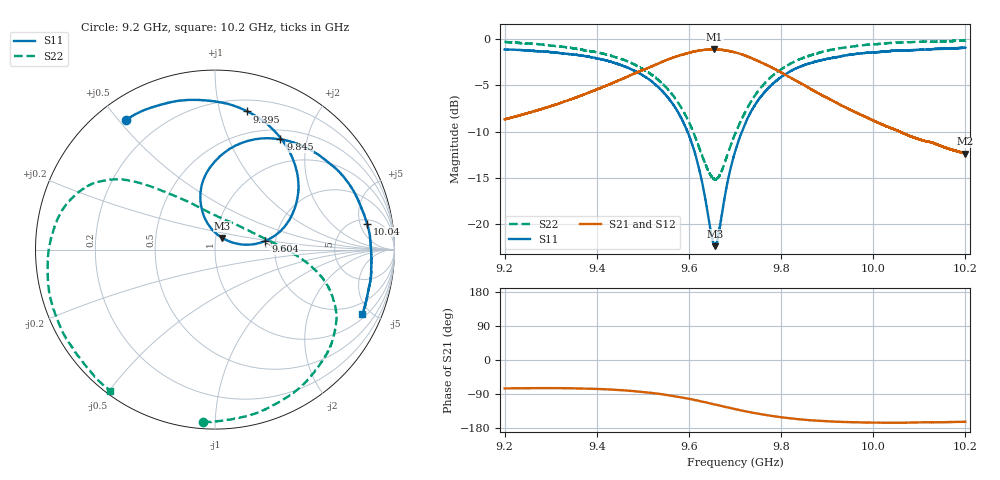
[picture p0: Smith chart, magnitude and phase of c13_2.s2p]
!Agilent Technologies,N5242A,MY51221714,A.09.90.19
!Agilent N5242A: A.09.90.19
!Date: Saturday, December 30, 2023 10:48:06
!Correction: S11(Full 2 Port(1,2))
!S21(Full 2 Port(1,2))
!S12(Full 2 Port(1,2))
!S22(Full 2 Port(1,2))
!S2P File: Measurements: S11, S21, S12, S22:
# Hz S  dB  R 50
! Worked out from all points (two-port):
!   16001 points, 9.2 GHz to 10.2 GHz, reference 50 ohm
!   highest |S21| = -1.12 dB at 9.655 GHz (marker M1); lowest = -12.4 dB at 10.2 GHz (marker M2)
!   |S21| within 3 dB of the highest: 9.464033 GHz to 9.464193 GHz (160.4 kHz wide, 0.00169 % of centre); 9.464 GHz to 9.818 GHz (354 MHz wide, 3.67 % of centre)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
!   lowest |S11| = -22.4 dB at 9.656 GHz (marker M3), VSWR 1.17, Z = 53.8 + j6.98 ohm
!   |S11| at or under -10 dB: 9.597 GHz to 9.715 GHz (118.2 MHz wide, 1.22 % of centre)
!   |S22| runs from -15.2 to -0.2 dB; largest |S21 - S12| = 0.014
!   S11 on the Smith chart (normalised r, x): 9.2 GHz: 0.08, +0.52; 9.395 GHz: 0.30, +1.22; 9.604 GHz: 1.77, +0.19; 9.845 GHz: 0.63, +1.57; 10.04 GHz: 5.90, +6.52; 10.2 GHz: 1.22, -4.46
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9.2e9  -1.15 124.6  -8.68 -75.0  -8.66 -75.7  -0.32 -94.0
9.275125e9  -1.33 107.3  -7.65 -74.3  -7.63 -74.9  -0.58 -73.7
9.366688e9  -1.79 84.5  -6.10 -75.1  -6.09 -76.0  -1.16 -50.1
9.394562e9  -2.04 76.9  -5.56 -76.1  -5.54 -76.9  -1.39 -43.1
9.4645e9  -3.06 56.2  -4.11 -80.6  -4.11 -81.4  -2.36 -27.5
9.533375e9  -5.20 33.0  -2.66 -89.0  -2.64 -89.7  -4.42 -13.6
9.5725e9  -7.58 19.1  -1.91 -96.3  -1.88 -97.1  -6.58 -5.0
9.60375e9  -10.91 9.8  -1.46 -103.4  -1.43 -104.1  -9.38 5.4
9.624812e9  -14.60 8.3  -1.23 -108.7  -1.23 -109.5  -12.06 19.3
9.655e9  -22.25 52.8  -1.12 -117.0  -1.13 -117.8  -15.09 62.3
9.65625e9  -22.36 57.8  -1.14 -117.3  -1.12 -118.1  -15.14 64.7
9.670312e9  -19.28 96.3  -1.18 -121.3  -1.17 -122.0  -14.35 90.3
9.7e9  -12.20 107.7  -1.44 -129.5  -1.42 -130.2  -10.28 119.4
9.755938e9  -6.26 90.5  -2.52 -142.9  -2.50 -143.7  -5.27 137.6
9.801125e9  -4.07 74.2  -3.65 -151.2  -3.65 -152.0  -3.24 145.4
9.845125e9  -2.91 59.3  -4.86 -157.1  -4.84 -157.7  -2.11 152.8
9.866688e9  -2.56 52.7  -5.47 -159.3  -5.46 -160.0  -1.73 156.5
9.950062e9  -1.70 29.9  -7.65 -164.0  -7.64 -164.8  -0.85 173.3
1.003338e10  -1.33 10.3  -9.52 -165.2  -9.51 -166.1  -0.45 -167.9
1.003569e10  -1.32 9.7  -9.57 -165.3  -9.56 -166.1  -0.45 -167.3
1.011112e10  -1.16 -6.0  -11.00 -164.1  -10.99 -164.9  -0.30 -149.1
1.02e10  -0.95 -23.7  -12.37 -163.0  -12.36 -163.9  -0.18 -126.5
